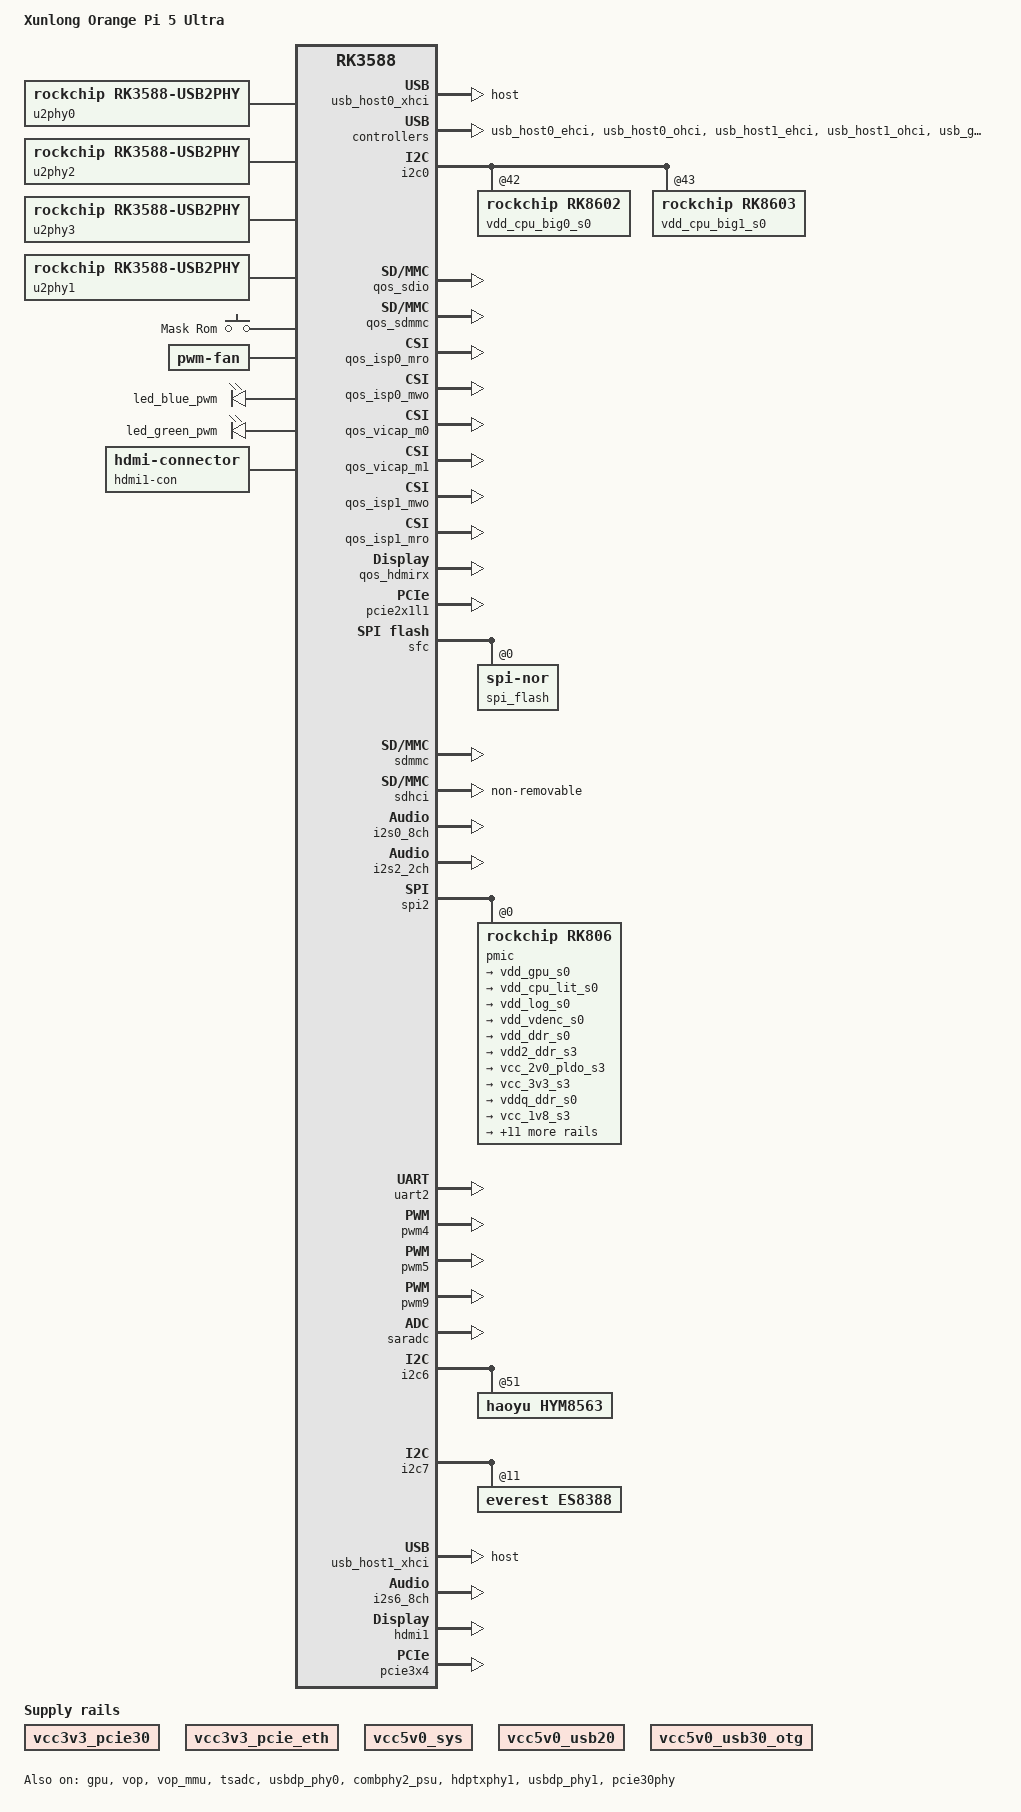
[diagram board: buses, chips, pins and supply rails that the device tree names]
/dts-v1/;

/ {
	compatible = "xunlong,orangepi-5-ultra", "rockchip,rk3588";
	model = "Xunlong Orange Pi 5 Ultra";

	aliases {
		gpio0 = "/pinctrl/gpio@fd8a0000";
		gpio1 = "/pinctrl/gpio@fec20000";
		gpio2 = "/pinctrl/gpio@fec30000";
		gpio3 = "/pinctrl/gpio@fec40000";
		gpio4 = "/pinctrl/gpio@fec50000";
		i2c0 = "/i2c@fd880000";
		i2c1 = "/i2c@fea90000";
		i2c2 = "/i2c@feaa0000";
		i2c3 = "/i2c@feab0000";
		i2c4 = "/i2c@feac0000";
		i2c5 = "/i2c@fead0000";
		i2c6 = "/i2c@fec80000";
		i2c7 = "/i2c@fec90000";
		i2c8 = "/i2c@feca0000";
		serial0 = "/serial@fd890000";
		serial1 = "/serial@feb40000";
		serial2 = "/serial@feb50000";
		serial3 = "/serial@feb60000";
		serial4 = "/serial@feb70000";
		serial5 = "/serial@feb80000";
		serial6 = "/serial@feb90000";
		serial7 = "/serial@feba0000";
		serial8 = "/serial@febb0000";
		serial9 = "/serial@febc0000";
		spi0 = "/spi@feb00000";
		spi1 = "/spi@feb10000";
		spi2 = "/spi@feb20000";
		spi3 = "/spi@feb30000";
		spi4 = "/spi@fecb0000";
		mmc0 = "/mmc@fe2e0000";
		mmc1 = "/mmc@fe2c0000";
	};

	cpus {

		cpu-map {

			cluster0 {

				core0 {
				};

				core1 {
				};

				core2 {
				};

				core3 {
				};
			};

			cluster1 {

				core0 {
				};

				core1 {
				};
			};

			cluster2 {

				core0 {
				};

				core1 {
				};
			};
		};

		cpu_l0: cpu@0 {
			device_type = "cpu";
			compatible = "arm,cortex-a55";
			enable-method = "psci";
		};

		cpu_l1: cpu@100 {
			device_type = "cpu";
			compatible = "arm,cortex-a55";
			enable-method = "psci";
		};

		cpu_l2: cpu@200 {
			device_type = "cpu";
			compatible = "arm,cortex-a55";
			enable-method = "psci";
		};

		cpu_l3: cpu@300 {
			device_type = "cpu";
			compatible = "arm,cortex-a55";
			enable-method = "psci";
		};

		cpu_b0: cpu@400 {
			device_type = "cpu";
			compatible = "arm,cortex-a76";
			enable-method = "psci";
		};

		cpu_b1: cpu@500 {
			device_type = "cpu";
			compatible = "arm,cortex-a76";
			enable-method = "psci";
		};

		cpu_b2: cpu@600 {
			device_type = "cpu";
			compatible = "arm,cortex-a76";
			enable-method = "psci";
		};

		cpu_b3: cpu@700 {
			device_type = "cpu";
			compatible = "arm,cortex-a76";
			enable-method = "psci";
		};

		idle-states {
			entry-method = "psci";

			CPU_SLEEP: cpu-sleep {
				compatible = "arm,idle-state";
				local-timer-stop;
			};
		};

		l2_cache_l0: l2-cache-l0 {
			compatible = "cache";
			cache-unified;
		};

		l2_cache_l1: l2-cache-l1 {
			compatible = "cache";
			cache-unified;
		};

		l2_cache_l2: l2-cache-l2 {
			compatible = "cache";
			cache-unified;
		};

		l2_cache_l3: l2-cache-l3 {
			compatible = "cache";
			cache-unified;
		};

		l2_cache_b0: l2-cache-b0 {
			compatible = "cache";
			cache-unified;
		};

		l2_cache_b1: l2-cache-b1 {
			compatible = "cache";
			cache-unified;
		};

		l2_cache_b2: l2-cache-b2 {
			compatible = "cache";
			cache-unified;
		};

		l2_cache_b3: l2-cache-b3 {
			compatible = "cache";
			cache-unified;
		};
	};

	l3_cache: l3-cache {
		compatible = "cache";
		cache-unified;
	};

	display_subsystem: display-subsystem {
		compatible = "rockchip,display-subsystem";
	};

	firmware {

		scmi: scmi {
			compatible = "arm,scmi-smc";

			scmi_clk: protocol@14 {
			};

			scmi_reset: protocol@16 {
			};
		};
	};

	hdmi0_sound: hdmi0-sound {
		compatible = "simple-audio-card";
		simple-audio-card,format = "i2s";
		simple-audio-card,name = "hdmi0";
		status = "disabled";

		simple-audio-card,codec {
		};

		simple-audio-card,cpu {
		};
	};

	pmu-a55 {
		compatible = "arm,cortex-a55-pmu";
	};

	pmu-a76 {
		compatible = "arm,cortex-a76-pmu";
	};

	psci {
		compatible = "arm,psci-1.0";
		method = "smc";
	};

	spll: clock-0 {
		compatible = "fixed-clock";
		clock-output-names = "spll";
	};

	timer {
		compatible = "arm,armv8-timer";
		interrupt-names = "sec-phys", "phys", "virt", "hyp-phys", "hyp-virt";
	};

	xin24m: clock-1 {
		compatible = "fixed-clock";
		clock-output-names = "xin24m";
	};

	xin32k: clock-2 {
		compatible = "fixed-clock";
		clock-output-names = "xin32k";
	};

	pmu_sram: sram@10f000 {
		compatible = "mmio-sram";

		scmi_shmem: sram@0 {
			compatible = "arm,scmi-shmem";
		};
	};

	gpu: gpu@fb000000 {
		compatible = "rockchip,rk3588-mali", "arm,mali-valhall-csf";
		clock-names = "core", "coregroup", "stacks";
		interrupt-names = "job", "mmu", "gpu";
		status = "okay";
	};

	usb_host0_xhci: usb@fc000000 {
		compatible = "rockchip,rk3588-dwc3", "snps,dwc3";
		clock-names = "ref_clk", "suspend_clk", "bus_clk";
		dr_mode = "host";
		phy-names = "usb2-phy", "usb3-phy";
		phy_type = "utmi_wide";
		snps,dis_enblslpm_quirk;
		snps,dis-u1-entry-quirk;
		snps,dis-u2-entry-quirk;
		snps,dis-u2-freeclk-exists-quirk;
		snps,dis-del-phy-power-chg-quirk;
		snps,dis-tx-ipgap-linecheck-quirk;
		status = "okay";
	};

	usb_host0_ehci: usb@fc800000 {
		compatible = "rockchip,rk3588-ehci", "generic-ehci";
		phy-names = "usb";
		status = "okay";
	};

	usb_host0_ohci: usb@fc840000 {
		compatible = "rockchip,rk3588-ohci", "generic-ohci";
		phy-names = "usb";
		status = "okay";
	};

	usb_host1_ehci: usb@fc880000 {
		compatible = "rockchip,rk3588-ehci", "generic-ehci";
		phy-names = "usb";
		status = "okay";
	};

	usb_host1_ohci: usb@fc8c0000 {
		compatible = "rockchip,rk3588-ohci", "generic-ohci";
		phy-names = "usb";
		status = "okay";
	};

	usb_host2_xhci: usb@fcd00000 {
		compatible = "rockchip,rk3588-dwc3", "snps,dwc3";
		clock-names = "ref_clk", "suspend_clk", "bus_clk", "utmi", "pipe";
		dr_mode = "host";
		phy-names = "usb3-phy";
		phy_type = "utmi_wide";
		snps,dis_enblslpm_quirk;
		snps,dis-u2-freeclk-exists-quirk;
		snps,dis-del-phy-power-chg-quirk;
		snps,dis-tx-ipgap-linecheck-quirk;
		snps,dis_rxdet_inp3_quirk;
		status = "disabled";
	};

	mmu600_pcie: iommu@fc900000 {
		compatible = "arm,smmu-v3";
		interrupt-names = "eventq", "gerror", "priq", "cmdq-sync";
	};

	mmu600_php: iommu@fcb00000 {
		compatible = "arm,smmu-v3";
		interrupt-names = "eventq", "gerror", "priq", "cmdq-sync";
		status = "disabled";
	};

	pmu1grf: syscon@fd58a000 {
		compatible = "rockchip,rk3588-pmugrf", "syscon", "simple-mfd";
	};

	sys_grf: syscon@fd58c000 {
		compatible = "rockchip,rk3588-sys-grf", "syscon";
	};

	vop_grf: syscon@fd5a4000 {
		compatible = "rockchip,rk3588-vop-grf", "syscon";
	};

	vo0_grf: syscon@fd5a6000 {
		compatible = "rockchip,rk3588-vo0-grf", "syscon";
	};

	vo1_grf: syscon@fd5a8000 {
		compatible = "rockchip,rk3588-vo1-grf", "syscon";
	};

	usb_grf: syscon@fd5ac000 {
		compatible = "rockchip,rk3588-usb-grf", "syscon";
	};

	php_grf: syscon@fd5b0000 {
		compatible = "rockchip,rk3588-php-grf", "syscon";
	};

	pipe_phy0_grf: syscon@fd5bc000 {
		compatible = "rockchip,rk3588-pipe-phy-grf", "syscon";
	};

	pipe_phy2_grf: syscon@fd5c4000 {
		compatible = "rockchip,rk3588-pipe-phy-grf", "syscon";
	};

	usbdpphy0_grf: syscon@fd5c8000 {
		compatible = "rockchip,rk3588-usbdpphy-grf", "syscon";
	};

	usb2phy0_grf: syscon@fd5d0000 {
		compatible = "rockchip,rk3588-usb2phy-grf", "syscon", "simple-mfd";

		u2phy0: usb2phy@0 {
			compatible = "rockchip,rk3588-usb2phy";
			clock-names = "phyclk";
			clock-output-names = "usb480m_phy0";
			reset-names = "phy", "apb";
			status = "okay";

			u2phy0_otg: otg-port {
				status = "okay";
			};
		};
	};

	usb2phy2_grf: syscon@fd5d8000 {
		compatible = "rockchip,rk3588-usb2phy-grf", "syscon", "simple-mfd";

		u2phy2: usb2phy@8000 {
			compatible = "rockchip,rk3588-usb2phy";
			clock-names = "phyclk";
			clock-output-names = "usb480m_phy2";
			reset-names = "phy", "apb";
			status = "okay";

			u2phy2_host: host-port {
				status = "okay";
			};
		};
	};

	usb2phy3_grf: syscon@fd5dc000 {
		compatible = "rockchip,rk3588-usb2phy-grf", "syscon", "simple-mfd";

		u2phy3: usb2phy@c000 {
			compatible = "rockchip,rk3588-usb2phy";
			clock-names = "phyclk";
			clock-output-names = "usb480m_phy3";
			reset-names = "phy", "apb";
			status = "okay";

			u2phy3_host: host-port {
				status = "okay";
			};
		};
	};

	hdptxphy0_grf: syscon@fd5e0000 {
		compatible = "rockchip,rk3588-hdptxphy-grf", "syscon";
	};

	ioc: syscon@fd5f0000 {
		compatible = "rockchip,rk3588-ioc", "syscon";
	};

	system_sram1: sram@fd600000 {
		compatible = "mmio-sram";
	};

	cru: clock-controller@fd7c0000 {
		compatible = "rockchip,rk3588-cru";
	};

	i2c0: i2c@fd880000 {
		compatible = "rockchip,rk3588-i2c", "rockchip,rk3399-i2c";
		clock-names = "i2c", "pclk";
		pinctrl-names = "default";
		status = "okay";

		vdd_cpu_big0_s0: regulator@42 {
			compatible = "rockchip,rk8602";
			regulator-name = "vdd_cpu_big0_s0";
			regulator-always-on;
			regulator-boot-on;

			regulator-state-mem {
				regulator-off-in-suspend;
			};
		};

		vdd_cpu_big1_s0: regulator@43 {
			compatible = "rockchip,rk8603", "rockchip,rk8602";
			regulator-name = "vdd_cpu_big1_s0";
			regulator-always-on;
			regulator-boot-on;

			regulator-state-mem {
				regulator-off-in-suspend;
			};
		};
	};

	uart0: serial@fd890000 {
		compatible = "rockchip,rk3588-uart", "snps,dw-apb-uart";
		clock-names = "baudclk", "apb_pclk";
		dma-names = "tx", "rx";
		pinctrl-names = "default";
		status = "disabled";
	};

	pwm0: pwm@fd8b0000 {
		compatible = "rockchip,rk3588-pwm", "rockchip,rk3328-pwm";
		clock-names = "pwm", "pclk";
		pinctrl-names = "default";
		status = "disabled";
	};

	pwm1: pwm@fd8b0010 {
		compatible = "rockchip,rk3588-pwm", "rockchip,rk3328-pwm";
		clock-names = "pwm", "pclk";
		pinctrl-names = "default";
		status = "disabled";
	};

	pwm2: pwm@fd8b0020 {
		compatible = "rockchip,rk3588-pwm", "rockchip,rk3328-pwm";
		clock-names = "pwm", "pclk";
		pinctrl-names = "default";
		status = "disabled";
	};

	pwm3: pwm@fd8b0030 {
		compatible = "rockchip,rk3588-pwm", "rockchip,rk3328-pwm";
		clock-names = "pwm", "pclk";
		pinctrl-names = "default";
		status = "disabled";
	};

	pmu: power-management@fd8d8000 {
		compatible = "rockchip,rk3588-pmu", "syscon", "simple-mfd";

		power: power-controller {
			compatible = "rockchip,rk3588-power-controller";
			status = "okay";

			power-domain@8 {

				power-domain@9 {

					power-domain@10 {
					};

					power-domain@11 {
					};
				};
			};

			power-domain@12 {
			};

			power-domain@13 {

				power-domain@14 {
				};

				power-domain@15 {
				};

				power-domain@16 {

					power-domain@17 {
					};
				};
			};

			power-domain@21 {

				power-domain@23 {
				};

				power-domain@14 {
				};

				power-domain@15 {
				};

				power-domain@22 {
				};
			};

			power-domain@24 {

				power-domain@25 {
				};
			};

			power-domain@26 {
			};

			power-domain@27 {

				power-domain@28 {
				};

				power-domain@29 {
				};
			};

			power-domain@30 {
			};

			power-domain@31 {
			};

			power-domain@33 {
			};

			power-domain@34 {
			};

			power-domain@37 {
			};

			power-domain@38 {
			};

			power-domain@40 {
			};
		};
	};

	vpu121: video-codec@fdb50000 {
		compatible = "rockchip,rk3588-vpu121", "rockchip,rk3568-vpu";
		interrupt-names = "vdpu";
		clock-names = "aclk", "hclk";
	};

	vpu121_mmu: iommu@fdb50800 {
		compatible = "rockchip,rk3588-iommu", "rockchip,rk3568-iommu";
		clock-names = "aclk", "iface";
	};

	rga: rga@fdb80000 {
		compatible = "rockchip,rk3588-rga", "rockchip,rk3288-rga";
		clock-names = "aclk", "hclk", "sclk";
		reset-names = "core", "axi", "ahb";
	};

	vepu121_0: video-codec@fdba0000 {
		compatible = "rockchip,rk3588-vepu121";
		clock-names = "aclk", "hclk";
	};

	vepu121_0_mmu: iommu@fdba0800 {
		compatible = "rockchip,rk3588-iommu", "rockchip,rk3568-iommu";
		clock-names = "aclk", "iface";
	};

	vepu121_1: video-codec@fdba4000 {
		compatible = "rockchip,rk3588-vepu121";
		clock-names = "aclk", "hclk";
	};

	vepu121_1_mmu: iommu@fdba4800 {
		compatible = "rockchip,rk3588-iommu", "rockchip,rk3568-iommu";
		clock-names = "aclk", "iface";
	};

	vepu121_2: video-codec@fdba8000 {
		compatible = "rockchip,rk3588-vepu121";
		clock-names = "aclk", "hclk";
	};

	vepu121_2_mmu: iommu@fdba8800 {
		compatible = "rockchip,rk3588-iommu", "rockchip,rk3568-iommu";
		clock-names = "aclk", "iface";
	};

	vepu121_3: video-codec@fdbac000 {
		compatible = "rockchip,rk3588-vepu121";
		clock-names = "aclk", "hclk";
	};

	vepu121_3_mmu: iommu@fdbac800 {
		compatible = "rockchip,rk3588-iommu", "rockchip,rk3568-iommu";
		clock-names = "aclk", "iface";
	};

	av1d: video-codec@fdc70000 {
		compatible = "rockchip,rk3588-av1-vpu";
		interrupt-names = "vdpu";
		clock-names = "aclk", "hclk";
	};

	vop: vop@fdd90000 {
		compatible = "rockchip,rk3588-vop";
		reg-names = "vop", "gamma-lut";
		clock-names = "aclk", "hclk", "dclk_vp0", "dclk_vp1", "dclk_vp2", "dclk_vp3", "pclk_vop", "pll_hdmiphy0", "pll_hdmiphy1";
		status = "okay";

		vop_out: ports {

			vp0: port@0 {

				vp0_out_hdmi1: endpoint@8 {
				};
			};

			vp1: port@1 {
			};

			vp2: port@2 {
			};

			vp3: port@3 {
			};
		};
	};

	vop_mmu: iommu@fdd97e00 {
		compatible = "rockchip,rk3588-iommu", "rockchip,rk3568-iommu";
		clock-names = "aclk", "iface";
		status = "okay";
	};

	spdif_tx2: spdif-tx@fddb0000 {
		compatible = "rockchip,rk3588-spdif", "rockchip,rk3568-spdif";
		clock-names = "mclk", "hclk";
		dma-names = "tx";
		status = "disabled";
	};

	i2s4_8ch: i2s@fddc0000 {
		compatible = "rockchip,rk3588-i2s-tdm";
		clock-names = "mclk_tx", "mclk_rx", "hclk";
		dma-names = "tx";
		reset-names = "tx-m";
		status = "disabled";
	};

	spdif_tx3: spdif-tx@fdde0000 {
		compatible = "rockchip,rk3588-spdif", "rockchip,rk3568-spdif";
		clock-names = "mclk", "hclk";
		dma-names = "tx";
		status = "disabled";
	};

	i2s5_8ch: i2s@fddf0000 {
		compatible = "rockchip,rk3588-i2s-tdm";
		clock-names = "mclk_tx", "mclk_rx", "hclk";
		dma-names = "tx";
		reset-names = "tx-m";
		status = "disabled";
	};

	i2s9_8ch: i2s@fddfc000 {
		compatible = "rockchip,rk3588-i2s-tdm";
		clock-names = "mclk_tx", "mclk_rx", "hclk";
		dma-names = "rx";
		reset-names = "rx-m";
		status = "disabled";
	};

	hdmi0: hdmi@fde80000 {
		compatible = "rockchip,rk3588-dw-hdmi-qp";
		clock-names = "pclk", "earc", "ref", "aud", "hdp", "hclk_vo1";
		interrupt-names = "avp", "cec", "earc", "main", "hpd";
		pinctrl-names = "default";
		reset-names = "ref", "hdp";
		status = "disabled";

		ports {

			hdmi0_in: port@0 {
			};

			hdmi0_out: port@1 {
			};
		};
	};

	qos_gpu_m0: qos@fdf35000 {
		compatible = "rockchip,rk3588-qos", "syscon";
	};

	qos_gpu_m1: qos@fdf35200 {
		compatible = "rockchip,rk3588-qos", "syscon";
	};

	qos_gpu_m2: qos@fdf35400 {
		compatible = "rockchip,rk3588-qos", "syscon";
	};

	qos_gpu_m3: qos@fdf35600 {
		compatible = "rockchip,rk3588-qos", "syscon";
	};

	qos_rga3_1: qos@fdf36000 {
		compatible = "rockchip,rk3588-qos", "syscon";
	};

	qos_sdio: qos@fdf39000 {
		compatible = "rockchip,rk3588-qos", "syscon";
	};

	qos_sdmmc: qos@fdf3d800 {
		compatible = "rockchip,rk3588-qos", "syscon";
	};

	qos_usb3_1: qos@fdf3e000 {
		compatible = "rockchip,rk3588-qos", "syscon";
	};

	qos_usb3_0: qos@fdf3e200 {
		compatible = "rockchip,rk3588-qos", "syscon";
	};

	qos_usb2host_0: qos@fdf3e400 {
		compatible = "rockchip,rk3588-qos", "syscon";
	};

	qos_usb2host_1: qos@fdf3e600 {
		compatible = "rockchip,rk3588-qos", "syscon";
	};

	qos_fisheye0: qos@fdf40000 {
		compatible = "rockchip,rk3588-qos", "syscon";
	};

	qos_fisheye1: qos@fdf40200 {
		compatible = "rockchip,rk3588-qos", "syscon";
	};

	qos_isp0_mro: qos@fdf40400 {
		compatible = "rockchip,rk3588-qos", "syscon";
	};

	qos_isp0_mwo: qos@fdf40500 {
		compatible = "rockchip,rk3588-qos", "syscon";
	};

	qos_vicap_m0: qos@fdf40600 {
		compatible = "rockchip,rk3588-qos", "syscon";
	};

	qos_vicap_m1: qos@fdf40800 {
		compatible = "rockchip,rk3588-qos", "syscon";
	};

	qos_isp1_mwo: qos@fdf41000 {
		compatible = "rockchip,rk3588-qos", "syscon";
	};

	qos_isp1_mro: qos@fdf41100 {
		compatible = "rockchip,rk3588-qos", "syscon";
	};

	qos_rkvenc0_m0ro: qos@fdf60000 {
		compatible = "rockchip,rk3588-qos", "syscon";
	};

	qos_rkvenc0_m1ro: qos@fdf60200 {
		compatible = "rockchip,rk3588-qos", "syscon";
	};

	qos_rkvenc0_m2wo: qos@fdf60400 {
		compatible = "rockchip,rk3588-qos", "syscon";
	};

	qos_rkvenc1_m0ro: qos@fdf61000 {
		compatible = "rockchip,rk3588-qos", "syscon";
	};

	qos_rkvenc1_m1ro: qos@fdf61200 {
		compatible = "rockchip,rk3588-qos", "syscon";
	};

	qos_rkvenc1_m2wo: qos@fdf61400 {
		compatible = "rockchip,rk3588-qos", "syscon";
	};

	qos_rkvdec0: qos@fdf62000 {
		compatible = "rockchip,rk3588-qos", "syscon";
	};

	qos_rkvdec1: qos@fdf63000 {
		compatible = "rockchip,rk3588-qos", "syscon";
	};

	qos_av1: qos@fdf64000 {
		compatible = "rockchip,rk3588-qos", "syscon";
	};

	qos_iep: qos@fdf66000 {
		compatible = "rockchip,rk3588-qos", "syscon";
	};

	qos_jpeg_dec: qos@fdf66200 {
		compatible = "rockchip,rk3588-qos", "syscon";
	};

	qos_jpeg_enc0: qos@fdf66400 {
		compatible = "rockchip,rk3588-qos", "syscon";
	};

	qos_jpeg_enc1: qos@fdf66600 {
		compatible = "rockchip,rk3588-qos", "syscon";
	};

	qos_jpeg_enc2: qos@fdf66800 {
		compatible = "rockchip,rk3588-qos", "syscon";
	};

	qos_jpeg_enc3: qos@fdf66a00 {
		compatible = "rockchip,rk3588-qos", "syscon";
	};

	qos_rga2_mro: qos@fdf66c00 {
		compatible = "rockchip,rk3588-qos", "syscon";
	};

	qos_rga2_mwo: qos@fdf66e00 {
		compatible = "rockchip,rk3588-qos", "syscon";
	};

	qos_rga3_0: qos@fdf67000 {
		compatible = "rockchip,rk3588-qos", "syscon";
	};

	qos_vdpu: qos@fdf67200 {
		compatible = "rockchip,rk3588-qos", "syscon";
	};

	qos_npu1: qos@fdf70000 {
		compatible = "rockchip,rk3588-qos", "syscon";
	};

	qos_npu2: qos@fdf71000 {
		compatible = "rockchip,rk3588-qos", "syscon";
	};

	qos_npu0_mwr: qos@fdf72000 {
		compatible = "rockchip,rk3588-qos", "syscon";
	};

	qos_npu0_mro: qos@fdf72200 {
		compatible = "rockchip,rk3588-qos", "syscon";
	};

	qos_mcu_npu: qos@fdf72400 {
		compatible = "rockchip,rk3588-qos", "syscon";
	};

	qos_hdcp0: qos@fdf80000 {
		compatible = "rockchip,rk3588-qos", "syscon";
	};

	qos_hdcp1: qos@fdf81000 {
		compatible = "rockchip,rk3588-qos", "syscon";
	};

	qos_hdmirx: qos@fdf81200 {
		compatible = "rockchip,rk3588-qos", "syscon";
	};

	qos_vop_m0: qos@fdf82000 {
		compatible = "rockchip,rk3588-qos", "syscon";
	};

	qos_vop_m1: qos@fdf82200 {
		compatible = "rockchip,rk3588-qos", "syscon";
	};

	dfi: dfi@fe060000 {
		compatible = "rockchip,rk3588-dfi";
	};

	pcie2x1l1: pcie@fe180000 {
		compatible = "rockchip,rk3588-pcie", "rockchip,rk3568-pcie";
		clock-names = "aclk_mst", "aclk_slv", "aclk_dbi", "pclk", "aux", "pipe";
		device_type = "pci";
		interrupt-names = "sys", "pmc", "msg", "legacy", "err";
		phy-names = "pcie-phy";
		reg-names = "dbi", "apb", "config";
		reset-names = "pwr", "pipe";
		status = "okay";

		pcie2x1l1_intc: legacy-interrupt-controller {
			interrupt-controller;
		};
	};

	pcie2x1l2: pcie@fe190000 {
		compatible = "rockchip,rk3588-pcie", "rockchip,rk3568-pcie";
		clock-names = "aclk_mst", "aclk_slv", "aclk_dbi", "pclk", "aux", "pipe";
		device_type = "pci";
		interrupt-names = "sys", "pmc", "msg", "legacy", "err";
		phy-names = "pcie-phy";
		reg-names = "dbi", "apb", "config";
		reset-names = "pwr", "pipe";
		status = "disabled";

		pcie2x1l2_intc: legacy-interrupt-controller {
			interrupt-controller;
		};
	};

	gmac1: ethernet@fe1c0000 {
		compatible = "rockchip,rk3588-gmac", "snps,dwmac-4.20a";
		interrupt-names = "macirq", "eth_wake_irq";
		clock-names = "stmmaceth", "clk_mac_ref", "pclk_mac", "aclk_mac", "ptp_ref";
		reset-names = "stmmaceth";
		snps,mixed-burst;
		snps,tso;
		status = "disabled";

		mdio1: mdio {
			compatible = "snps,dwmac-mdio";
		};

		gmac1_stmmac_axi_setup: stmmac-axi-config {
		};

		gmac1_mtl_rx_setup: rx-queues-config {

			queue0 {
			};

			queue1 {
			};
		};

		gmac1_mtl_tx_setup: tx-queues-config {

			queue0 {
			};

			queue1 {
			};
		};
	};

	sata0: sata@fe210000 {
		compatible = "rockchip,rk3588-dwc-ahci", "snps,dwc-ahci";
		clock-names = "sata", "pmalive", "rxoob", "ref", "asic";
		status = "disabled";

		sata-port@0 {
			phy-names = "sata-phy";
		};
	};

	sata2: sata@fe230000 {
		compatible = "rockchip,rk3588-dwc-ahci", "snps,dwc-ahci";
		clock-names = "sata", "pmalive", "rxoob", "ref", "asic";
		status = "disabled";

		sata-port@0 {
			phy-names = "sata-phy";
		};
	};

	sfc: spi@fe2b0000 {
		compatible = "rockchip,sfc";
		clock-names = "clk_sfc", "hclk_sfc";
		status = "okay";
		pinctrl-names = "default";

		spi_flash: flash@0 {
			compatible = "jedec,spi-nor";
		};
	};

	sdmmc: mmc@fe2c0000 {
		compatible = "rockchip,rk3588-dw-mshc", "rockchip,rk3288-dw-mshc";
		clock-names = "biu", "ciu", "ciu-drive", "ciu-sample";
		pinctrl-names = "default";
		status = "okay";
		cap-sd-highspeed;
		disable-wp;
		no-sdio;
		no-mmc;
		sd-uhs-sdr104;
	};

	sdio: mmc@fe2d0000 {
		compatible = "rockchip,rk3588-dw-mshc", "rockchip,rk3288-dw-mshc";
		clock-names = "biu", "ciu", "ciu-drive", "ciu-sample";
		pinctrl-names = "default";
		status = "disabled";
	};

	sdhci: mmc@fe2e0000 {
		compatible = "rockchip,rk3588-dwcmshc";
		clock-names = "core", "bus", "axi", "block", "timer";
		pinctrl-names = "default";
		reset-names = "core", "bus", "axi", "block", "timer";
		status = "okay";
		no-sdio;
		no-sd;
		non-removable;
		mmc-hs400-1_8v;
		mmc-hs400-enhanced-strobe;
	};

	i2s0_8ch: i2s@fe470000 {
		compatible = "rockchip,rk3588-i2s-tdm";
		clock-names = "mclk_tx", "mclk_rx", "hclk";
		dma-names = "tx", "rx";
		reset-names = "tx-m", "rx-m";
		rockchip,trcm-sync-tx-only;
		pinctrl-names = "default";
		status = "okay";
	};

	i2s1_8ch: i2s@fe480000 {
		compatible = "rockchip,rk3588-i2s-tdm";
		clock-names = "mclk_tx", "mclk_rx", "hclk";
		dma-names = "tx", "rx";
		reset-names = "tx-m", "rx-m";
		rockchip,trcm-sync-tx-only;
		pinctrl-names = "default";
		status = "disabled";
	};

	i2s2_2ch: i2s@fe490000 {
		compatible = "rockchip,rk3588-i2s", "rockchip,rk3066-i2s";
		clock-names = "i2s_clk", "i2s_hclk";
		dma-names = "tx", "rx";
		pinctrl-names = "default";
		status = "okay";
	};

	i2s3_2ch: i2s@fe4a0000 {
		compatible = "rockchip,rk3588-i2s", "rockchip,rk3066-i2s";
		clock-names = "i2s_clk", "i2s_hclk";
		dma-names = "tx", "rx";
		pinctrl-names = "default";
		status = "disabled";
	};

	spdif_tx0: spdif-tx@fe4e0000 {
		compatible = "rockchip,rk3588-spdif", "rockchip,rk3568-spdif";
		clock-names = "mclk", "hclk";
		dma-names = "tx";
		pinctrl-names = "default";
		status = "disabled";
	};

	spdif_tx1: spdif-tx@fe4f0000 {
		compatible = "rockchip,rk3588-spdif", "rockchip,rk3568-spdif";
		clock-names = "mclk", "hclk";
		dma-names = "tx";
		pinctrl-names = "default";
		status = "disabled";
	};

	gic: interrupt-controller@fe600000 {
		compatible = "arm,gic-v3";
		interrupt-controller;
		dma-noncoherent;
		msi-controller;
		ranges;

		its0: msi-controller@fe640000 {
			compatible = "arm,gic-v3-its";
			dma-noncoherent;
			msi-controller;
		};

		its1: msi-controller@fe660000 {
			compatible = "arm,gic-v3-its";
			dma-noncoherent;
			msi-controller;
		};

		ppi-partitions {

			ppi_partition0: interrupt-partition-0 {
			};

			ppi_partition1: interrupt-partition-1 {
			};
		};
	};

	dmac0: dma-controller@fea10000 {
		compatible = "arm,pl330", "arm,primecell";
		arm,pl330-periph-burst;
		clock-names = "apb_pclk";
	};

	dmac1: dma-controller@fea30000 {
		compatible = "arm,pl330", "arm,primecell";
		arm,pl330-periph-burst;
		clock-names = "apb_pclk";
	};

	i2c1: i2c@fea90000 {
		compatible = "rockchip,rk3588-i2c", "rockchip,rk3399-i2c";
		clock-names = "i2c", "pclk";
		pinctrl-names = "default";
		status = "disabled";
	};

	i2c2: i2c@feaa0000 {
		compatible = "rockchip,rk3588-i2c", "rockchip,rk3399-i2c";
		clock-names = "i2c", "pclk";
		pinctrl-names = "default";
		status = "disabled";
	};

	i2c3: i2c@feab0000 {
		compatible = "rockchip,rk3588-i2c", "rockchip,rk3399-i2c";
		clock-names = "i2c", "pclk";
		pinctrl-names = "default";
		status = "disabled";
	};

	i2c4: i2c@feac0000 {
		compatible = "rockchip,rk3588-i2c", "rockchip,rk3399-i2c";
		clock-names = "i2c", "pclk";
		pinctrl-names = "default";
		status = "disabled";
	};

	i2c5: i2c@fead0000 {
		compatible = "rockchip,rk3588-i2c", "rockchip,rk3399-i2c";
		clock-names = "i2c", "pclk";
		pinctrl-names = "default";
		status = "disabled";
	};

	timer0: timer@feae0000 {
		compatible = "rockchip,rk3588-timer", "rockchip,rk3288-timer";
		clock-names = "pclk", "timer";
	};

	wdt: watchdog@feaf0000 {
		compatible = "rockchip,rk3588-wdt", "snps,dw-wdt";
		clock-names = "tclk", "pclk";
	};

	spi0: spi@feb00000 {
		compatible = "rockchip,rk3588-spi", "rockchip,rk3066-spi";
		clock-names = "spiclk", "apb_pclk";
		dma-names = "tx", "rx";
		pinctrl-names = "default";
		status = "disabled";
	};

	spi1: spi@feb10000 {
		compatible = "rockchip,rk3588-spi", "rockchip,rk3066-spi";
		clock-names = "spiclk", "apb_pclk";
		dma-names = "tx", "rx";
		pinctrl-names = "default";
		status = "disabled";
	};

	spi2: spi@feb20000 {
		compatible = "rockchip,rk3588-spi", "rockchip,rk3066-spi";
		clock-names = "spiclk", "apb_pclk";
		dma-names = "tx", "rx";
		pinctrl-names = "default";
		status = "okay";

		pmic@0 {
			compatible = "rockchip,rk806";
			pinctrl-names = "default";
			system-power-controller;
			gpio-controller;

			rk806_dvs1_null: dvs1-null-pins {
				pins = "gpio_pwrctrl1";
				function = "pin_fun0";
			};

			rk806_dvs2_null: dvs2-null-pins {
				pins = "gpio_pwrctrl2";
				function = "pin_fun0";
			};

			rk806_dvs3_null: dvs3-null-pins {
				pins = "gpio_pwrctrl3";
				function = "pin_fun0";
			};

			regulators {

				vdd_gpu_s0: dcdc-reg1 {
					regulator-name = "vdd_gpu_s0";
					regulator-boot-on;

					regulator-state-mem {
						regulator-off-in-suspend;
					};
				};

				vdd_cpu_lit_s0: dcdc-reg2 {
					regulator-name = "vdd_cpu_lit_s0";
					regulator-always-on;
					regulator-boot-on;

					regulator-state-mem {
						regulator-off-in-suspend;
					};
				};

				vdd_log_s0: dcdc-reg3 {
					regulator-name = "vdd_log_s0";
					regulator-always-on;
					regulator-boot-on;

					regulator-state-mem {
						regulator-off-in-suspend;
					};
				};

				vdd_vdenc_s0: dcdc-reg4 {
					regulator-name = "vdd_vdenc_s0";
					regulator-always-on;
					regulator-boot-on;

					regulator-state-mem {
						regulator-off-in-suspend;
					};
				};

				vdd_ddr_s0: dcdc-reg5 {
					regulator-name = "vdd_ddr_s0";
					regulator-always-on;
					regulator-boot-on;

					regulator-state-mem {
						regulator-off-in-suspend;
					};
				};

				vdd2_ddr_s3: dcdc-reg6 {
					regulator-name = "vdd2_ddr_s3";
					regulator-always-on;
					regulator-boot-on;

					regulator-state-mem {
						regulator-on-in-suspend;
					};
				};

				vcc_2v0_pldo_s3: dcdc-reg7 {
					regulator-name = "vdd_2v0_pldo_s3";
					regulator-always-on;
					regulator-boot-on;

					regulator-state-mem {
						regulator-on-in-suspend;
					};
				};

				vcc_3v3_s3: dcdc-reg8 {
					regulator-name = "vcc_3v3_s3";
					regulator-always-on;
					regulator-boot-on;

					regulator-state-mem {
						regulator-on-in-suspend;
					};
				};

				vddq_ddr_s0: dcdc-reg9 {
					regulator-name = "vddq_ddr_s0";
					regulator-always-on;
					regulator-boot-on;

					regulator-state-mem {
						regulator-off-in-suspend;
					};
				};

				vcc_1v8_s3: dcdc-reg10 {
					regulator-name = "vcc_1v8_s3";
					regulator-always-on;
					regulator-boot-on;

					regulator-state-mem {
						regulator-on-in-suspend;
					};
				};

				avcc_1v8_s0: pldo-reg1 {
					regulator-name = "avcc_1v8_s0";
					regulator-always-on;
					regulator-boot-on;

					regulator-state-mem {
						regulator-off-in-suspend;
					};
				};

				vcc_1v8_s0: pldo-reg2 {
					regulator-name = "vcc_1v8_s0";
					regulator-always-on;
					regulator-boot-on;

					regulator-state-mem {
						regulator-off-in-suspend;
					};
				};

				avdd_1v2_s0: pldo-reg3 {
					regulator-name = "avdd_1v2_s0";
					regulator-always-on;
					regulator-boot-on;

					regulator-state-mem {
						regulator-off-in-suspend;
					};
				};

				vcc_3v3_s0: pldo-reg4 {
					regulator-name = "vcc_3v3_s0";
					regulator-always-on;
					regulator-boot-on;

					regulator-state-mem {
						regulator-off-in-suspend;
					};
				};

				vccio_sd_s0: pldo-reg5 {
					regulator-name = "vccio_sd_s0";
					regulator-always-on;
					regulator-boot-on;

					regulator-state-mem {
						regulator-off-in-suspend;
					};
				};

				pldo6_s3: pldo-reg6 {
					regulator-name = "pldo6_s3";
					regulator-always-on;
					regulator-boot-on;

					regulator-state-mem {
						regulator-on-in-suspend;
					};
				};

				vdd_0v75_s3: nldo-reg1 {
					regulator-name = "vdd_0v75_s3";
					regulator-always-on;
					regulator-boot-on;

					regulator-state-mem {
						regulator-on-in-suspend;
					};
				};

				vdd_ddr_pll_s0: nldo-reg2 {
					regulator-name = "vdd_ddr_pll_s0";
					regulator-always-on;
					regulator-boot-on;

					regulator-state-mem {
						regulator-off-in-suspend;
					};
				};

				avdd_0v75_s0: nldo-reg3 {
					regulator-name = "avdd_0v75_s0";
					regulator-always-on;
					regulator-boot-on;

					regulator-state-mem {
						regulator-off-in-suspend;
					};
				};

				vdd_0v85_s0: nldo-reg4 {
					regulator-name = "vdd_0v85_s0";
					regulator-always-on;
					regulator-boot-on;

					regulator-state-mem {
						regulator-off-in-suspend;
					};
				};

				vdd_0v75_s0: nldo-reg5 {
					regulator-name = "vdd_0v75_s0";
					regulator-always-on;
					regulator-boot-on;

					regulator-state-mem {
						regulator-off-in-suspend;
					};
				};
			};
		};
	};

	spi3: spi@feb30000 {
		compatible = "rockchip,rk3588-spi", "rockchip,rk3066-spi";
		clock-names = "spiclk", "apb_pclk";
		dma-names = "tx", "rx";
		pinctrl-names = "default";
		status = "disabled";
	};

	uart1: serial@feb40000 {
		compatible = "rockchip,rk3588-uart", "snps,dw-apb-uart";
		clock-names = "baudclk", "apb_pclk";
		dma-names = "tx", "rx";
		pinctrl-names = "default";
		status = "disabled";
	};

	uart2: serial@feb50000 {
		compatible = "rockchip,rk3588-uart", "snps,dw-apb-uart";
		clock-names = "baudclk", "apb_pclk";
		dma-names = "tx", "rx";
		pinctrl-names = "default";
		status = "okay";
	};

	uart3: serial@feb60000 {
		compatible = "rockchip,rk3588-uart", "snps,dw-apb-uart";
		clock-names = "baudclk", "apb_pclk";
		dma-names = "tx", "rx";
		pinctrl-names = "default";
		status = "disabled";
	};

	uart4: serial@feb70000 {
		compatible = "rockchip,rk3588-uart", "snps,dw-apb-uart";
		clock-names = "baudclk", "apb_pclk";
		dma-names = "tx", "rx";
		pinctrl-names = "default";
		status = "disabled";
	};

	uart5: serial@feb80000 {
		compatible = "rockchip,rk3588-uart", "snps,dw-apb-uart";
		clock-names = "baudclk", "apb_pclk";
		dma-names = "tx", "rx";
		pinctrl-names = "default";
		status = "disabled";
	};

	uart6: serial@feb90000 {
		compatible = "rockchip,rk3588-uart", "snps,dw-apb-uart";
		clock-names = "baudclk", "apb_pclk";
		dma-names = "tx", "rx";
		pinctrl-names = "default";
		status = "disabled";
	};

	uart7: serial@feba0000 {
		compatible = "rockchip,rk3588-uart", "snps,dw-apb-uart";
		clock-names = "baudclk", "apb_pclk";
		dma-names = "tx", "rx";
		pinctrl-names = "default";
		status = "disabled";
	};

	uart8: serial@febb0000 {
		compatible = "rockchip,rk3588-uart", "snps,dw-apb-uart";
		clock-names = "baudclk", "apb_pclk";
		dma-names = "tx", "rx";
		pinctrl-names = "default";
		status = "disabled";
	};

	uart9: serial@febc0000 {
		compatible = "rockchip,rk3588-uart", "snps,dw-apb-uart";
		clock-names = "baudclk", "apb_pclk";
		dma-names = "tx", "rx";
		pinctrl-names = "default";
		status = "disabled";
	};

	pwm4: pwm@febd0000 {
		compatible = "rockchip,rk3588-pwm", "rockchip,rk3328-pwm";
		clock-names = "pwm", "pclk";
		pinctrl-names = "default";
		status = "okay";
	};

	pwm5: pwm@febd0010 {
		compatible = "rockchip,rk3588-pwm", "rockchip,rk3328-pwm";
		clock-names = "pwm", "pclk";
		pinctrl-names = "default";
		status = "okay";
	};

	pwm6: pwm@febd0020 {
		compatible = "rockchip,rk3588-pwm", "rockchip,rk3328-pwm";
		clock-names = "pwm", "pclk";
		pinctrl-names = "default";
		status = "disabled";
	};

	pwm7: pwm@febd0030 {
		compatible = "rockchip,rk3588-pwm", "rockchip,rk3328-pwm";
		clock-names = "pwm", "pclk";
		pinctrl-names = "default";
		status = "disabled";
	};

	pwm8: pwm@febe0000 {
		compatible = "rockchip,rk3588-pwm", "rockchip,rk3328-pwm";
		clock-names = "pwm", "pclk";
		pinctrl-names = "default";
		status = "disabled";
	};

	pwm9: pwm@febe0010 {
		compatible = "rockchip,rk3588-pwm", "rockchip,rk3328-pwm";
		clock-names = "pwm", "pclk";
		pinctrl-names = "default";
		status = "okay";
	};

	pwm10: pwm@febe0020 {
		compatible = "rockchip,rk3588-pwm", "rockchip,rk3328-pwm";
		clock-names = "pwm", "pclk";
		pinctrl-names = "default";
		status = "disabled";
	};

	pwm11: pwm@febe0030 {
		compatible = "rockchip,rk3588-pwm", "rockchip,rk3328-pwm";
		clock-names = "pwm", "pclk";
		pinctrl-names = "default";
		status = "disabled";
	};

	pwm12: pwm@febf0000 {
		compatible = "rockchip,rk3588-pwm", "rockchip,rk3328-pwm";
		clock-names = "pwm", "pclk";
		pinctrl-names = "default";
		status = "disabled";
	};

	pwm13: pwm@febf0010 {
		compatible = "rockchip,rk3588-pwm", "rockchip,rk3328-pwm";
		clock-names = "pwm", "pclk";
		pinctrl-names = "default";
		status = "disabled";
	};

	pwm14: pwm@febf0020 {
		compatible = "rockchip,rk3588-pwm", "rockchip,rk3328-pwm";
		clock-names = "pwm", "pclk";
		pinctrl-names = "default";
		status = "disabled";
	};

	pwm15: pwm@febf0030 {
		compatible = "rockchip,rk3588-pwm", "rockchip,rk3328-pwm";
		clock-names = "pwm", "pclk";
		pinctrl-names = "default";
		status = "disabled";
	};

	thermal_zones: thermal-zones {

		package_thermal: package-thermal {

			trips {

				package_crit: package-crit {
					type = "critical";
				};

				package_fan0: package-fan0 {
					type = "active";
				};

				package_fan1: package-fan1 {
					type = "active";
				};
			};

			cooling-maps {

				map0 {
				};

				map1 {
				};
			};
		};

		bigcore0_thermal: bigcore0-thermal {

			trips {

				bigcore0_alert: bigcore0-alert {
					type = "passive";
				};

				bigcore0_crit: bigcore0-crit {
					type = "critical";
				};
			};

			cooling-maps {

				map0 {
				};
			};
		};

		bigcore2_thermal: bigcore2-thermal {

			trips {

				bigcore2_alert: bigcore2-alert {
					type = "passive";
				};

				bigcore2_crit: bigcore2-crit {
					type = "critical";
				};
			};

			cooling-maps {

				map0 {
				};
			};
		};

		little_core_thermal: littlecore-thermal {

			trips {

				littlecore_alert: littlecore-alert {
					type = "passive";
				};

				littlecore_crit: littlecore-crit {
					type = "critical";
				};
			};

			cooling-maps {

				map0 {
				};
			};
		};

		center_thermal: center-thermal {

			trips {

				center_crit: center-crit {
					type = "critical";
				};
			};
		};

		gpu_thermal: gpu-thermal {

			trips {

				gpu_alert: gpu-alert {
					type = "passive";
				};

				gpu_crit: gpu-crit {
					type = "critical";
				};
			};

			cooling-maps {

				map0 {
				};
			};
		};

		npu_thermal: npu-thermal {

			trips {

				npu_crit: npu-crit {
					type = "critical";
				};
			};
		};
	};

	tsadc: tsadc@fec00000 {
		compatible = "rockchip,rk3588-tsadc";
		clock-names = "tsadc", "apb_pclk";
		reset-names = "tsadc-apb", "tsadc";
		pinctrl-names = "gpio", "otpout";
		status = "okay";
	};

	saradc: adc@fec10000 {
		compatible = "rockchip,rk3588-saradc";
		clock-names = "saradc", "apb_pclk";
		reset-names = "saradc-apb";
		status = "okay";
	};

	i2c6: i2c@fec80000 {
		compatible = "rockchip,rk3588-i2c", "rockchip,rk3399-i2c";
		clock-names = "i2c", "pclk";
		pinctrl-names = "default";
		status = "okay";

		hym8563: rtc@51 {
			compatible = "haoyu,hym8563";
			clock-output-names = "hym8563";
			wakeup-source;
			pinctrl-names = "default";
		};
	};

	i2c7: i2c@fec90000 {
		compatible = "rockchip,rk3588-i2c", "rockchip,rk3399-i2c";
		clock-names = "i2c", "pclk";
		pinctrl-names = "default";
		status = "okay";

		es8388: audio-codec@11 {
			compatible = "everest,es8388";
		};
	};

	i2c8: i2c@feca0000 {
		compatible = "rockchip,rk3588-i2c", "rockchip,rk3399-i2c";
		clock-names = "i2c", "pclk";
		pinctrl-names = "default";
		status = "disabled";
	};

	spi4: spi@fecb0000 {
		compatible = "rockchip,rk3588-spi", "rockchip,rk3066-spi";
		clock-names = "spiclk", "apb_pclk";
		dma-names = "tx", "rx";
		pinctrl-names = "default";
		status = "disabled";
	};

	otp: efuse@fecc0000 {
		compatible = "rockchip,rk3588-otp";
		clock-names = "otp", "apb_pclk", "phy", "arb";
		reset-names = "otp", "apb", "arb";

		cpu_code: cpu-code@2 {
		};

		otp_id: id@7 {
		};

		cpub0_leakage: cpu-leakage@17 {
		};

		cpub1_leakage: cpu-leakage@18 {
		};

		cpul_leakage: cpu-leakage@19 {
		};

		log_leakage: log-leakage@1a {
		};

		gpu_leakage: gpu-leakage@1b {
		};

		otp_cpu_version: cpu-version@1c {
		};

		npu_leakage: npu-leakage@28 {
		};

		codec_leakage: codec-leakage@29 {
		};
	};

	dmac2: dma-controller@fed10000 {
		compatible = "arm,pl330", "arm,primecell";
		arm,pl330-periph-burst;
		clock-names = "apb_pclk";
	};

	hdptxphy0: phy@fed60000 {
		compatible = "rockchip,rk3588-hdptx-phy";
		clock-names = "ref", "apb";
		reset-names = "phy", "apb", "init", "cmn", "lane", "ropll", "lcpll";
		status = "disabled";
	};

	usbdp_phy0: phy@fed80000 {
		compatible = "rockchip,rk3588-usbdp-phy";
		clock-names = "refclk", "immortal", "pclk", "utmi";
		reset-names = "init", "cmn", "lane", "pcs_apb", "pma_apb";
		status = "okay";
	};

	combphy0_ps: phy@fee00000 {
		compatible = "rockchip,rk3588-naneng-combphy";
		clock-names = "ref", "apb", "pipe";
		reset-names = "phy", "apb";
		status = "disabled";
	};

	combphy2_psu: phy@fee20000 {
		compatible = "rockchip,rk3588-naneng-combphy";
		clock-names = "ref", "apb", "pipe";
		reset-names = "phy", "apb";
		status = "okay";
	};

	system_sram2: sram@ff001000 {
		compatible = "mmio-sram";
	};

	pinctrl: pinctrl {
		compatible = "rockchip,rk3588-pinctrl";
		ranges;

		gpio0: gpio@fd8a0000 {
			compatible = "rockchip,gpio-bank";
			gpio-controller;
			interrupt-controller;
		};

		gpio1: gpio@fec20000 {
			compatible = "rockchip,gpio-bank";
			gpio-controller;
			interrupt-controller;
		};

		gpio2: gpio@fec30000 {
			compatible = "rockchip,gpio-bank";
			gpio-controller;
			interrupt-controller;
		};

		gpio3: gpio@fec40000 {
			compatible = "rockchip,gpio-bank";
			gpio-controller;
			interrupt-controller;
		};

		gpio4: gpio@fec50000 {
			compatible = "rockchip,gpio-bank";
			gpio-controller;
			interrupt-controller;
		};

		pcfg_pull_up: pcfg-pull-up {
			bias-pull-up;
		};

		pcfg_pull_down: pcfg-pull-down {
			bias-pull-down;
		};

		pcfg_pull_none: pcfg-pull-none {
			bias-disable;
		};

		pcfg_pull_none_drv_level_2: pcfg-pull-none-drv-level-2 {
			bias-disable;
		};

		pcfg_pull_up_drv_level_1: pcfg-pull-up-drv-level-1 {
			bias-pull-up;
		};

		pcfg_pull_up_drv_level_2: pcfg-pull-up-drv-level-2 {
			bias-pull-up;
		};

		pcfg_pull_none_smt: pcfg-pull-none-smt {
			bias-disable;
			input-schmitt-enable;
		};

		auddsm {
		};

		bt1120 {
		};

		can0 {
		};

		can1 {
		};

		can2 {
		};

		cif {
		};

		clk32k {
		};

		cpu {
		};

		ddrphych0 {
		};

		ddrphych1 {
		};

		ddrphych2 {
		};

		ddrphych3 {
		};

		dp0 {
		};

		dp1 {
		};

		emmc {

			emmc_rstnout: emmc-rstnout {
			};

			emmc_bus8: emmc-bus8 {
			};

			emmc_clk: emmc-clk {
			};

			emmc_cmd: emmc-cmd {
			};

			emmc_data_strobe: emmc-data-strobe {
			};
		};

		eth1 {
		};

		fspi {

			fspim2_pins: fspim2-pins {
			};
		};

		gmac1 {
		};

		gpu {
		};

		hdmi {

			hdmim0_tx0_cec: hdmim0-tx0-cec {
			};

			hdmim0_tx0_hpd: hdmim0-tx0-hpd {
			};

			hdmim0_tx0_scl: hdmim0-tx0-scl {
			};

			hdmim0_tx0_sda: hdmim0-tx0-sda {
			};

			hdmim0_tx1_hpd: hdmim0-tx1-hpd {
			};

			hdmim1_tx1_scl: hdmim1-tx1-scl {
			};

			hdmim1_tx1_sda: hdmim1-tx1-sda {
			};

			hdmim0_tx1_cec: hdmim0-tx1-cec {
			};
		};

		i2c0 {

			i2c0m2_xfer: i2c0m2-xfer {
			};
		};

		i2c1 {

			i2c1m0_xfer: i2c1m0-xfer {
			};
		};

		i2c2 {

			i2c2m0_xfer: i2c2m0-xfer {
			};
		};

		i2c3 {

			i2c3m0_xfer: i2c3m0-xfer {
			};
		};

		i2c4 {

			i2c4m0_xfer: i2c4m0-xfer {
			};
		};

		i2c5 {

			i2c5m0_xfer: i2c5m0-xfer {
			};
		};

		i2c6 {

			i2c6m0_xfer: i2c6m0-xfer {
			};
		};

		i2c7 {

			i2c7m0_xfer: i2c7m0-xfer {
			};
		};

		i2c8 {

			i2c8m0_xfer: i2c8m0-xfer {
			};
		};

		i2s0 {

			i2s0_lrck: i2s0-lrck {
			};

			i2s0_mclk: i2s0-mclk {
			};

			i2s0_sclk: i2s0-sclk {
			};

			i2s0_sdi0: i2s0-sdi0 {
			};

			i2s0_sdo0: i2s0-sdo0 {
			};
		};

		i2s1 {

			i2s1m0_lrck: i2s1m0-lrck {
			};

			i2s1m0_sclk: i2s1m0-sclk {
			};

			i2s1m0_sdi0: i2s1m0-sdi0 {
			};

			i2s1m0_sdi1: i2s1m0-sdi1 {
			};

			i2s1m0_sdi2: i2s1m0-sdi2 {
			};

			i2s1m0_sdi3: i2s1m0-sdi3 {
			};

			i2s1m0_sdo0: i2s1m0-sdo0 {
			};

			i2s1m0_sdo1: i2s1m0-sdo1 {
			};

			i2s1m0_sdo2: i2s1m0-sdo2 {
			};

			i2s1m0_sdo3: i2s1m0-sdo3 {
			};
		};

		i2s2 {

			i2s2m0_lrck: i2s2m0-lrck {
			};

			i2s2m0_sclk: i2s2m0-sclk {
			};

			i2s2m0_sdi: i2s2m0-sdi {
			};

			i2s2m0_sdo: i2s2m0-sdo {
			};
		};

		i2s3 {

			i2s3_lrck: i2s3-lrck {
			};

			i2s3_sclk: i2s3-sclk {
			};

			i2s3_sdi: i2s3-sdi {
			};

			i2s3_sdo: i2s3-sdo {
			};
		};

		jtag {
		};

		litcpu {
		};

		mcu {
		};

		mipi {
		};

		npu {
		};

		pcie20x1 {
		};

		pcie30phy {
		};

		pcie30x1 {
		};

		pcie30x2 {
		};

		pcie30x4 {
		};

		pdm0 {
		};

		pdm1 {
		};

		pmic {

			pmic_pins: pmic-pins {
			};
		};

		pmu {
		};

		pwm0 {

			pwm0m0_pins: pwm0m0-pins {
			};
		};

		pwm1 {

			pwm1m0_pins: pwm1m0-pins {
			};
		};

		pwm2 {

			pwm2m0_pins: pwm2m0-pins {
			};
		};

		pwm3 {

			pwm3m0_pins: pwm3m0-pins {
			};
		};

		pwm4 {

			pwm4m0_pins: pwm4m0-pins {
			};
		};

		pwm5 {

			pwm5m1_pins: pwm5m1-pins {
			};
		};

		pwm6 {

			pwm6m0_pins: pwm6m0-pins {
			};
		};

		pwm7 {

			pwm7m0_pins: pwm7m0-pins {
			};
		};

		pwm8 {

			pwm8m0_pins: pwm8m0-pins {
			};
		};

		pwm9 {

			pwm9m2_pins: pwm9m2-pins {
			};
		};

		pwm10 {

			pwm10m0_pins: pwm10m0-pins {
			};
		};

		pwm11 {

			pwm11m0_pins: pwm11m0-pins {
			};
		};

		pwm12 {

			pwm12m0_pins: pwm12m0-pins {
			};
		};

		pwm13 {

			pwm13m0_pins: pwm13m0-pins {
			};
		};

		pwm14 {

			pwm14m0_pins: pwm14m0-pins {
			};
		};

		pwm15 {

			pwm15m0_pins: pwm15m0-pins {
			};
		};

		refclk {
		};

		sata {
		};

		sata0 {
		};

		sata1 {
		};

		sata2 {
		};

		sdio {

			sdiom1_pins: sdiom1-pins {
			};
		};

		sdmmc {

			sdmmc_bus4: sdmmc-bus4 {
			};

			sdmmc_clk: sdmmc-clk {
			};

			sdmmc_cmd: sdmmc-cmd {
			};

			sdmmc_det: sdmmc-det {
			};
		};

		spdif0 {

			spdif0m0_tx: spdif0m0-tx {
			};
		};

		spdif1 {

			spdif1m0_tx: spdif1m0-tx {
			};
		};

		spi0 {

			spi0m0_pins: spi0m0-pins {
			};

			spi0m0_cs0: spi0m0-cs0 {
			};

			spi0m0_cs1: spi0m0-cs1 {
			};
		};

		spi1 {

			spi1m1_pins: spi1m1-pins {
			};

			spi1m1_cs0: spi1m1-cs0 {
			};

			spi1m1_cs1: spi1m1-cs1 {
			};
		};

		spi2 {

			spi2m2_pins: spi2m2-pins {
			};

			spi2m2_cs0: spi2m2-cs0 {
			};
		};

		spi3 {

			spi3m1_pins: spi3m1-pins {
			};

			spi3m1_cs0: spi3m1-cs0 {
			};

			spi3m1_cs1: spi3m1-cs1 {
			};
		};

		spi4 {

			spi4m0_pins: spi4m0-pins {
			};

			spi4m0_cs0: spi4m0-cs0 {
			};

			spi4m0_cs1: spi4m0-cs1 {
			};
		};

		tsadc {

			tsadc_shut: tsadc-shut {
			};
		};

		uart0 {

			uart0m1_xfer: uart0m1-xfer {
			};
		};

		uart1 {

			uart1m1_xfer: uart1m1-xfer {
			};
		};

		uart2 {

			uart2m0_xfer: uart2m0-xfer {
			};
		};

		uart3 {

			uart3m1_xfer: uart3m1-xfer {
			};
		};

		uart4 {

			uart4m1_xfer: uart4m1-xfer {
			};
		};

		uart5 {

			uart5m1_xfer: uart5m1-xfer {
			};
		};

		uart6 {

			uart6m1_xfer: uart6m1-xfer {
			};
		};

		uart7 {

			uart7m1_xfer: uart7m1-xfer {
			};
		};

		uart8 {

			uart8m1_xfer: uart8m1-xfer {
			};
		};

		uart9 {

			uart9m1_xfer: uart9m1-xfer {
			};
		};

		vop {
		};

		bt656 {
		};

		gpio-func {

			tsadc_gpio_func: tsadc-gpio-func {
			};
		};

		eth0 {
		};

		gmac0 {
		};

		hym8563 {

			rtc_int_l: hym8563-int {
			};
		};

		sound {

			hp_detect: hp-detect {
			};
		};

		usb {

			usb_host_pwren: usb-host-pwren {
			};

			usb_otg_pwren: usb-otg-pwren {
			};
		};
	};

	hdmi1_sound: hdmi1-sound {
		compatible = "simple-audio-card";
		simple-audio-card,format = "i2s";
		simple-audio-card,name = "hdmi1";
		status = "okay";

		simple-audio-card,codec {
		};

		simple-audio-card,cpu {
		};
	};

	usb_host1_xhci: usb@fc400000 {
		compatible = "rockchip,rk3588-dwc3", "snps,dwc3";
		clock-names = "ref_clk", "suspend_clk", "bus_clk";
		dr_mode = "host";
		phy-names = "usb2-phy", "usb3-phy";
		phy_type = "utmi_wide";
		snps,dis_enblslpm_quirk;
		snps,dis-u2-freeclk-exists-quirk;
		snps,dis-del-phy-power-chg-quirk;
		snps,dis-tx-ipgap-linecheck-quirk;
		status = "okay";
	};

	pcie30_phy_grf: syscon@fd5b8000 {
		compatible = "rockchip,rk3588-pcie3-phy-grf", "syscon";
	};

	pipe_phy1_grf: syscon@fd5c0000 {
		compatible = "rockchip,rk3588-pipe-phy-grf", "syscon";
	};

	usbdpphy1_grf: syscon@fd5cc000 {
		compatible = "rockchip,rk3588-usbdpphy-grf", "syscon";
	};

	usb2phy1_grf: syscon@fd5d4000 {
		compatible = "rockchip,rk3588-usb2phy-grf", "syscon", "simple-mfd";

		u2phy1: usb2phy@4000 {
			compatible = "rockchip,rk3588-usb2phy";
			clock-names = "phyclk";
			clock-output-names = "usb480m_phy1";
			reset-names = "phy", "apb";
			status = "okay";

			u2phy1_otg: otg-port {
				status = "okay";
			};
		};
	};

	hdptxphy1_grf: syscon@fd5e4000 {
		compatible = "rockchip,rk3588-hdptxphy-grf", "syscon";
	};

	spdif_tx5: spdif-tx@fddb8000 {
		compatible = "rockchip,rk3588-spdif", "rockchip,rk3568-spdif";
		clock-names = "mclk", "hclk";
		dma-names = "tx";
		status = "disabled";
	};

	i2s8_8ch: i2s@fddc8000 {
		compatible = "rockchip,rk3588-i2s-tdm";
		clock-names = "mclk_tx", "mclk_rx", "hclk";
		dma-names = "tx";
		reset-names = "tx-m";
		status = "disabled";
	};

	spdif_tx4: spdif-tx@fdde8000 {
		compatible = "rockchip,rk3588-spdif", "rockchip,rk3568-spdif";
		clock-names = "mclk", "hclk";
		dma-names = "tx";
		status = "disabled";
	};

	i2s6_8ch: i2s@fddf4000 {
		compatible = "rockchip,rk3588-i2s-tdm";
		clock-names = "mclk_tx", "mclk_rx", "hclk";
		dma-names = "tx";
		reset-names = "tx-m";
		status = "okay";
	};

	i2s7_8ch: i2s@fddf8000 {
		compatible = "rockchip,rk3588-i2s-tdm";
		clock-names = "mclk_tx", "mclk_rx", "hclk";
		dma-names = "rx";
		reset-names = "rx-m";
		status = "disabled";
	};

	i2s10_8ch: i2s@fde00000 {
		compatible = "rockchip,rk3588-i2s-tdm";
		clock-names = "mclk_tx", "mclk_rx", "hclk";
		dma-names = "rx";
		reset-names = "rx-m";
		status = "disabled";
	};

	hdmi1: hdmi@fdea0000 {
		compatible = "rockchip,rk3588-dw-hdmi-qp";
		clock-names = "pclk", "earc", "ref", "aud", "hdp", "hclk_vo1";
		interrupt-names = "avp", "cec", "earc", "main", "hpd";
		pinctrl-names = "default";
		reset-names = "ref", "hdp";
		status = "okay";

		ports {

			hdmi1_in: port@0 {

				hdmi1_in_vp0: endpoint {
				};
			};

			hdmi1_out: port@1 {

				hdmi1_out_con: endpoint {
				};
			};
		};
	};

	pcie3x4: pcie@fe150000 {
		compatible = "rockchip,rk3588-pcie", "rockchip,rk3568-pcie";
		clock-names = "aclk_mst", "aclk_slv", "aclk_dbi", "pclk", "aux", "pipe";
		device_type = "pci";
		interrupt-names = "sys", "pmc", "msg", "legacy", "err";
		phy-names = "pcie-phy";
		reg-names = "dbi", "apb", "config";
		reset-names = "pwr", "pipe";
		status = "okay";

		pcie3x4_intc: legacy-interrupt-controller {
			interrupt-controller;
		};
	};

	pcie3x4_ep: pcie-ep@fe150000 {
		compatible = "rockchip,rk3588-pcie-ep";
		reg-names = "dbi", "dbi2", "apb", "addr_space", "atu";
		clock-names = "aclk_mst", "aclk_slv", "aclk_dbi", "pclk", "aux", "pipe";
		interrupt-names = "sys", "pmc", "msg", "legacy", "err", "dma0", "dma1", "dma2", "dma3";
		phy-names = "pcie-phy";
		reset-names = "pwr", "pipe";
		status = "disabled";
	};

	pcie3x2: pcie@fe160000 {
		compatible = "rockchip,rk3588-pcie", "rockchip,rk3568-pcie";
		clock-names = "aclk_mst", "aclk_slv", "aclk_dbi", "pclk", "aux", "pipe";
		device_type = "pci";
		interrupt-names = "sys", "pmc", "msg", "legacy", "err";
		phy-names = "pcie-phy";
		reg-names = "dbi", "apb", "config";
		reset-names = "pwr", "pipe";
		status = "disabled";

		pcie3x2_intc: legacy-interrupt-controller {
			interrupt-controller;
		};
	};

	pcie2x1l0: pcie@fe170000 {
		compatible = "rockchip,rk3588-pcie", "rockchip,rk3568-pcie";
		clock-names = "aclk_mst", "aclk_slv", "aclk_dbi", "pclk", "aux", "pipe";
		device_type = "pci";
		interrupt-names = "sys", "pmc", "msg", "legacy", "err";
		phy-names = "pcie-phy";
		reg-names = "dbi", "apb", "config";
		reset-names = "pwr", "pipe";
		status = "disabled";

		pcie2x1l0_intc: legacy-interrupt-controller {
			interrupt-controller;
		};
	};

	gmac0: ethernet@fe1b0000 {
		compatible = "rockchip,rk3588-gmac", "snps,dwmac-4.20a";
		interrupt-names = "macirq", "eth_wake_irq";
		clock-names = "stmmaceth", "clk_mac_ref", "pclk_mac", "aclk_mac", "ptp_ref";
		reset-names = "stmmaceth";
		snps,mixed-burst;
		snps,tso;
		status = "disabled";

		mdio0: mdio {
			compatible = "snps,dwmac-mdio";
		};

		gmac0_stmmac_axi_setup: stmmac-axi-config {
		};

		gmac0_mtl_rx_setup: rx-queues-config {

			queue0 {
			};

			queue1 {
			};
		};

		gmac0_mtl_tx_setup: tx-queues-config {

			queue0 {
			};

			queue1 {
			};
		};
	};

	sata1: sata@fe220000 {
		compatible = "rockchip,rk3588-dwc-ahci", "snps,dwc-ahci";
		clock-names = "sata", "pmalive", "rxoob", "ref", "asic";
		status = "disabled";

		sata-port@0 {
			phy-names = "sata-phy";
		};
	};

	hdptxphy1: phy@fed70000 {
		compatible = "rockchip,rk3588-hdptx-phy";
		clock-names = "ref", "apb";
		reset-names = "phy", "apb", "init", "cmn", "lane", "ropll", "lcpll";
		status = "okay";
	};

	usbdp_phy1: phy@fed90000 {
		compatible = "rockchip,rk3588-usbdp-phy";
		clock-names = "refclk", "immortal", "pclk", "utmi";
		reset-names = "init", "cmn", "lane", "pcs_apb", "pma_apb";
		status = "okay";
	};

	combphy1_ps: phy@fee10000 {
		compatible = "rockchip,rk3588-naneng-combphy";
		clock-names = "ref", "apb", "pipe";
		reset-names = "phy", "apb";
		status = "disabled";
	};

	pcie30phy: phy@fee80000 {
		compatible = "rockchip,rk3588-pcie3-phy";
		clock-names = "pclk";
		reset-names = "phy";
		status = "okay";
	};

	cluster0_opp_table: opp-table-cluster0 {
		compatible = "operating-points-v2";
		opp-shared;

		opp-1008000000 {
			opp-hz = /bits/ 64 <0x3c14dc00>;
		};

		opp-1200000000 {
			opp-hz = /bits/ 64 <0x47868c00>;
		};

		opp-1416000000 {
			opp-hz = /bits/ 64 <0x54667200>;
			opp-suspend;
		};

		opp-1608000000 {
			opp-hz = /bits/ 64 <0x5fd82200>;
		};

		opp-1800000000 {
			opp-hz = /bits/ 64 <0x6b49d200>;
		};
	};

	cluster1_opp_table: opp-table-cluster1 {
		compatible = "operating-points-v2";
		opp-shared;

		opp-1200000000 {
			opp-hz = /bits/ 64 <0x47868c00>;
		};

		opp-1416000000 {
			opp-hz = /bits/ 64 <0x54667200>;
		};

		opp-1608000000 {
			opp-hz = /bits/ 64 <0x5fd82200>;
		};

		opp-1800000000 {
			opp-hz = /bits/ 64 <0x6b49d200>;
		};

		opp-2016000000 {
			opp-hz = /bits/ 64 <0x7829b800>;
		};

		opp-2208000000 {
			opp-hz = /bits/ 64 <0x839b6800>;
		};

		opp-2400000000 {
			opp-hz = /bits/ 64 <0x8f0d1800>;
		};
	};

	cluster2_opp_table: opp-table-cluster2 {
		compatible = "operating-points-v2";
		opp-shared;

		opp-1200000000 {
			opp-hz = /bits/ 64 <0x47868c00>;
		};

		opp-1416000000 {
			opp-hz = /bits/ 64 <0x54667200>;
		};

		opp-1608000000 {
			opp-hz = /bits/ 64 <0x5fd82200>;
		};

		opp-1800000000 {
			opp-hz = /bits/ 64 <0x6b49d200>;
		};

		opp-2016000000 {
			opp-hz = /bits/ 64 <0x7829b800>;
		};

		opp-2208000000 {
			opp-hz = /bits/ 64 <0x839b6800>;
		};

		opp-2400000000 {
			opp-hz = /bits/ 64 <0x8f0d1800>;
		};
	};

	gpu_opp_table: opp-table {
		compatible = "operating-points-v2";

		opp-300000000 {
			opp-hz = /bits/ 64 <0x11e1a300>;
		};

		opp-400000000 {
			opp-hz = /bits/ 64 <0x17d78400>;
		};

		opp-500000000 {
			opp-hz = /bits/ 64 <0x1dcd6500>;
		};

		opp-600000000 {
			opp-hz = /bits/ 64 <0x23c34600>;
		};

		opp-700000000 {
			opp-hz = /bits/ 64 <0x29b92700>;
		};

		opp-800000000 {
			opp-hz = /bits/ 64 <0x2faf0800>;
		};

		opp-900000000 {
			opp-hz = /bits/ 64 <0x35a4e900>;
		};

		opp-1000000000 {
			opp-hz = /bits/ 64 <0x3b9aca00>;
		};
	};

	chosen {
		stdout-path = "serial2:1500000n8";
	};

	adc-keys-0 {
		compatible = "adc-keys";
		io-channel-names = "buttons";

		button-maskrom {
			label = "Mask Rom";
		};
	};

	recovery_button: adc-keys-1 {
		compatible = "adc-keys";
		io-channel-names = "buttons";
		status = "disabled";

		button-recovery {
			label = "Recovery";
		};
	};

	speaker_amp: speaker-audio-amplifier {
		compatible = "simple-audio-amplifier";
		sound-name-prefix = "Speaker Amp";
		status = "disabled";
	};

	headphone_amp: headphones-audio-amplifier {
		compatible = "simple-audio-amplifier";
		sound-name-prefix = "Headphones Amp";
	};

	gpio-leds {
		compatible = "gpio-leds";

		led_blue_gpio: led {
			function = "indicator";
			status = "disabled";
		};
	};

	fan: pwm-fan {
		compatible = "pwm-fan";
	};

	pwm-leds {
		compatible = "pwm-leds";

		led_blue_pwm: led-1 {
			function = "status";
			linux,default-trigger = "heartbeat";
			status = "okay";
		};

		led_green_pwm: led-2 {
			function = "indicator";
		};
	};

	rfkill {
		compatible = "rfkill-gpio";
		label = "rfkill-pcie-wlan";
		radio-type = "wlan";
	};

	analog_sound: sound {
		compatible = "simple-audio-card";
		simple-audio-card,name = "Analog";
		simple-audio-card,format = "i2s";
		pinctrl-names = "default";
		simple-audio-card,routing = "Headphones", "LOUT1", "Headphones", "ROUT1", "LINPUT1", "Microphone Jack", "RINPUT1", "Microphone Jack", "LINPUT2", "Onboard Microphone", "RINPUT2", "Onboard Microphone";
		simple-audio-card,widgets = "Microphone", "Microphone Jack", "Microphone", "Onboard Microphone", "Headphone", "Headphones";

		daicpu: simple-audio-card,cpu {
		};

		daicodec: simple-audio-card,codec {
		};
	};

	vcc3v3_pcie30: regulator-vcc3v3-pcie30 {
		compatible = "regulator-fixed";
		enable-active-high;
		regulator-name = "vcc3v3_pcie30";
	};

	vcc3v3_pcie_eth: regulator-vcc3v3-pcie-eth {
		compatible = "regulator-fixed";
		regulator-name = "vcc3v3_pcie_eth";
	};

	vcc3v3_wf: regulator-vcc3v3-wf {
		compatible = "regulator-fixed";
		enable-active-high;
		regulator-name = "vcc3v3_wf";
		status = "disabled";
	};

	vcc5v0_sys: regulator-vcc5v0-sys {
		compatible = "regulator-fixed";
		regulator-name = "vcc5v0_sys";
		regulator-always-on;
		regulator-boot-on;
	};

	vcc5v0_usb20: regulator-vcc5v0-usb20 {
		compatible = "regulator-fixed";
		enable-active-high;
		regulator-name = "vcc5v0_usb20";
		pinctrl-names = "default";
	};

	vcc5v0_usb30_otg: vcc5v0-usb30-otg-regulator {
		compatible = "regulator-fixed";
		enable-active-high;
		pinctrl-names = "default";
		regulator-name = "vcc5v0_usb30_otg";
	};

	hdmi1-con {
		compatible = "hdmi-connector";
		type = "a";

		port {

			hdmi1_con_in: endpoint {
			};
		};
	};
};
